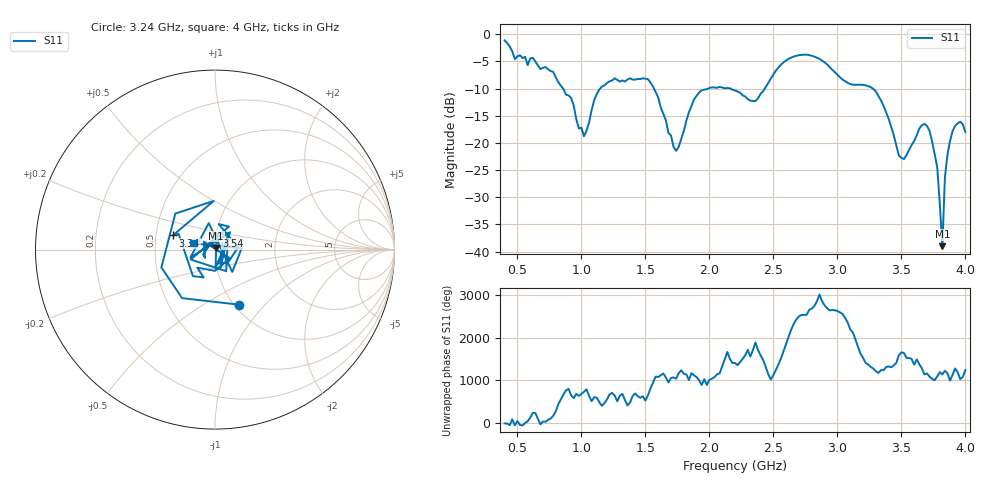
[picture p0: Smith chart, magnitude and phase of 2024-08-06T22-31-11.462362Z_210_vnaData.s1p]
!Created with skrf (http://scikit-rf.org).
# Hz S RI R 50.0
!freq ReS11 ImS11
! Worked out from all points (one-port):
!   181 points, 400 MHz to 4 GHz, reference 50 ohm
!   lowest |S11| = -39.0 dB at 3.82 GHz (marker M1), VSWR 1.02, Z = 50.6 + j0.974 ohm
!   |S11| at or under -10 dB: 857.4 MHz to 1.146 GHz (288.5 MHz wide, 28.8 % of centre); 1.567 GHz to 1.989 GHz (421.7 MHz wide, 23.7 % of centre); 3.278 GHz to end of sweep (the widest 3 of 4)
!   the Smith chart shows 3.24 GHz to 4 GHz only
!   S11 on the Smith chart (normalised r, x): 3.24 GHz: 1.05, -0.72; 3.34 GHz: 0.61, +0.10; 3.54 GHz: 1.00, +0.16; 4 GHz: 0.78, +0.05
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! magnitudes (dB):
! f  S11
! 400 MHz  -1.1
! 480 MHz  -4.6
! 620 MHz  -4.3
! 860 MHz  -10.1
! 1.02 GHz  -18.8
! 1.14 GHz  -10.2
! 1.3 GHz  -8.7
! 1.52 GHz  -8.3
! 1.72 GHz  -20.7
! 1.76 GHz  -20.7
! 1.92 GHz  -10.7
! 2.2 GHz  -10.3
! 2.36 GHz  -12.3
! 2.66 GHz  -4.1
! 3.1 GHz  -9.2
! 3.24 GHz  -9.5
! 3.34 GHz  -12.1
! 3.48 GHz  -22.3
! 3.54 GHz  -22.2
! 3.56 GHz  -21.3
! 3.66 GHz  -16.7
! 3.72 GHz  -17.8
! 3.78 GHz  -24.5
! 3.82 GHz  -39.0
! 3.84 GHz  -26.3
! 3.88 GHz  -19.6
! 3.96 GHz  -16.1
! 4 GHz  -18.0
